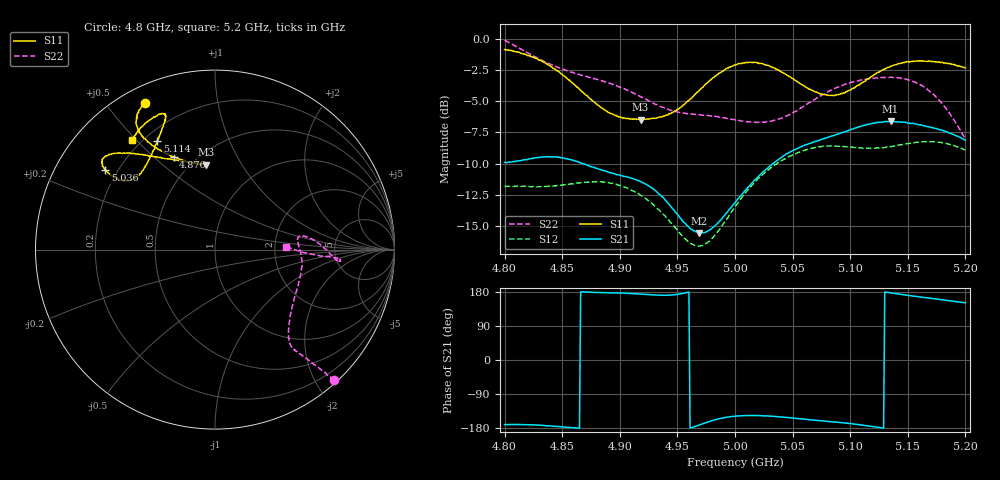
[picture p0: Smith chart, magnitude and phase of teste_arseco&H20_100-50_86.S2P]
! Network Analyzer HP8722D
! Hewlett-Packard
! Data name: Linha & Wilkinson
! Saver's name: Rodrigo Anjos
! Comments: Teste da utilização de aquisição
! continua pelo VNA HP8722D
! Time and date: 6/5/2025 13:17
!  Frequency  S11  S21  S12  S22
# HZ  S  MA R 50
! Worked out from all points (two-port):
!   401 points, 4.8 GHz to 5.2 GHz, reference 50 ohm
!   highest |S21| = -6.59 dB at 5.135 GHz (marker M1); lowest = -15.5 dB at 4.969 GHz (marker M2)
!   |S21| within 3 dB of the highest: 4.823 GHz to 4.853 GHz (30.34 MHz wide, 0.627 % of centre); 5.039 GHz to end of sweep
!   lowest |S11| = -6.5 dB at 4.918 GHz (marker M3), VSWR 2.81, Z = 29.2 + j35.6 ohm
!   |S11| at or under -10 dB: nowhere
!   |S22| runs from -8.0 to -0.1 dB; largest |S21 - S12| = 0.83
!   S11 on the Smith chart (normalised r, x): 4.8 GHz: 0.07, +0.63; 4.876 GHz: 0.38, +0.58; 5.036 GHz: 0.15, +0.32; 5.114 GHz: 0.25, +0.57; 5.2 GHz: 0.17, +0.49
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4.8e9  0.9049 115.6  0.3203 -170.5  0.2571 -86.1  0.9837 -47.5
4.834e9  0.8053 122.5  0.3369 -172.7  0.2561 -76.9  0.8113 -49.7
4.867e9  0.6154 118.0  0.3178 179.8  0.2654 -67.4  0.7146 -51.5
4.876e9  0.5656 114.0  0.3067 178.7  0.2673 -66.3  0.6971 -51.9
4.901e9  0.4862 100.8  0.2841 176.7  0.2579 -66.8  0.6375 -49.9
4.918e9  0.4749 96.0  0.2679 173.9  0.2367 -68.7  0.5869 -45.3
4.934e9  0.4857 99.0  0.2392 170.9  0.2071 -69.4  0.5392 -37.5
4.948e9  0.5146 107.7  0.2032 172.1  0.1759 -66.6  0.5117 -28.4
4.969e9  0.6205 123.5  0.1672 -171.3  0.1483 -48.0  0.4971 -15.1
4.981e9  0.6972 130.0  0.176 -159.3  0.1605 -33.9  0.4885 -8.8
5e9  0.7849 137.2  0.2207 -148.4  0.2128 -21.4  0.4733 -0.2
5.018e9  0.8033 141.6  0.2742 -146.4  0.2691 -18.2  0.4635 5.8
5.036e9  0.7552 144.0  0.3242 -149.3  0.3156 -18.4  0.4743 8.9
5.067e9  0.6214 141.9  0.385 -158.1  0.3653 -20.5  0.563 4.7
5.088e9  0.596 133.1  0.4136 -163.9  0.3714 -23.8  0.6374 -1.8
5.114e9  0.6837 118.0  0.453 -173.1  0.3651 -26.6  0.6885 -5.3
5.134e9  0.7702 111.0  0.4657 177.8  0.3686 -28.7  0.7 -4.8
5.135e9  0.7752 111.2  0.4681 177.3  0.3707 -28.8  0.7012 -4.7
5.148e9  0.8075 110.3  0.4634 171.5  0.3792 -31.4  0.6894 -4.1
5.164e9  0.8129 113.2  0.4484 165.1  0.3876 -36.0  0.6424 -3.6
5.181e9  0.8002 119.5  0.4277 158.5  0.3829 -41.4  0.542 -2.8
5.2e9  0.763 127.1  0.3921 150.9  0.359 -46.4  0.397 2.4
